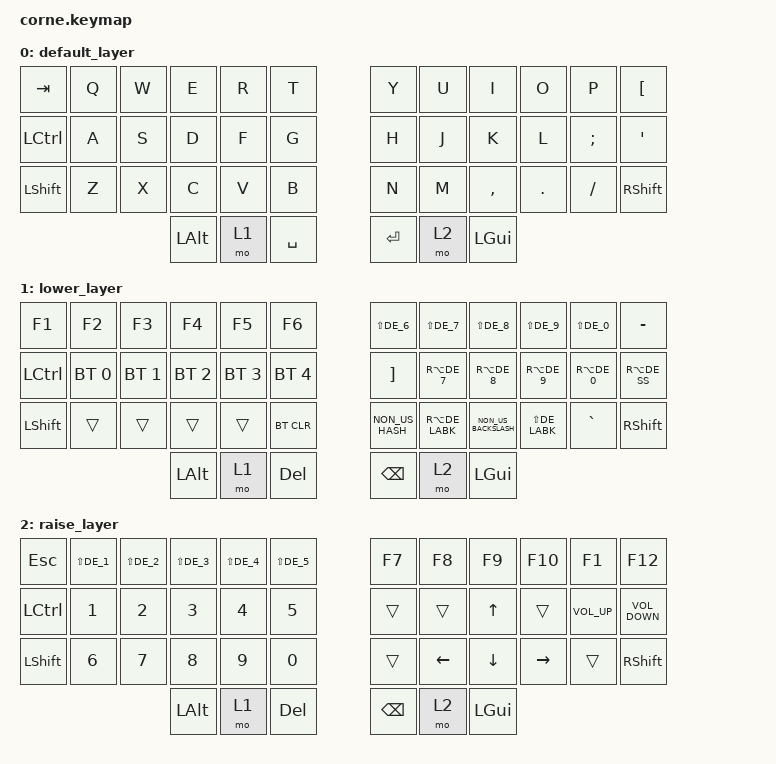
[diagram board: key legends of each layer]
/*
 * Copyright (c) 2020 The ZMK Contributors
 *
 * SPDX-License-Identifier: MIT
 */

#include <behaviors.dtsi>
#include <dt-bindings/zmk/keys.h>
#include <dt-bindings/zmk/modifiers.h>
#include <dt-bindings/zmk/bt.h>

// keymap german --------------------------------------------------------------------------

// clang-format off

/*
 * ┌───┬───┬───┬───┬───┬───┬───┬───┬───┬───┬───┬───┬───┬───────┐
 * │ ^ │ 1 │ 2 │ 3 │ 4 │ 5 │ 6 │ 7 │ 8 │ 9 │ 0 │ ß │ ´ │       │
 * ├───┴─┬─┴─┬─┴─┬─┴─┬─┴─┬─┴─┬─┴─┬─┴─┬─┴─┬─┴─┬─┴─┬─┴─┬─┴─┬─────┤
 * │     │ Q │ W │ E │ R │ T │ Z │ U │ I │ O │ P │ Ü │ + │     │
 * ├─────┴┬──┴┬──┴┬──┴┬──┴┬──┴┬──┴┬──┴┬──┴┬──┴┬──┴┬──┴┬──┴┐    │
 * │      │ A │ S │ D │ F │ G │ H │ J │ K │ L │ Ö │ Ä │ # │    │
 * ├────┬─┴─┬─┴─┬─┴─┬─┴─┬─┴─┬─┴─┬─┴─┬─┴─┬─┴─┬─┴─┬─┴─┬─┴───┴────┤
 * │    │ < │ Y │ X │ C │ V │ B │ N │ M │ , │ . │ - │          │
 * ├────┼───┴┬──┴─┬─┴───┴───┴───┴───┴───┴──┬┴───┼───┴┬────┬────┤
 * │    │    │    │                        │    │    │    │    │
 * └────┴────┴────┴────────────────────────┴────┴────┴────┴────┘
 */
// Row 1
#define DE_CIRC GRAVE // ^ (dead)
#define DE_1    N1    // 1
#define DE_2    N2    // 2
#define DE_3    N3    // 3
#define DE_4    N4    // 4
#define DE_5    N5    // 5
#define DE_6    N6    // 6
#define DE_7    N7    // 7
#define DE_8    N8    // 8
#define DE_9    N9    // 9
#define DE_0    N0    // 0
#define DE_SS   MINUS // ß
#define DE_ACUT EQUAL // ´ (dead)
// Row 2
#define DE_Q    Q             // Q
#define DE_W    W             // W
#define DE_E    E             // E
#define DE_R    R             // R
#define DE_T    T             // T
#define DE_Z    Y             // Z
#define DE_U    U             // U
#define DE_I    I             // I
#define DE_O    O             // O
#define DE_P    P             // P
#define DE_UDIA LEFT_BRACKET  // Ü
#define DE_PLUS RIGHT_BRACKET // +
// Row 3
#define DE_A    A            // A
#define DE_S    S            // S
#define DE_D    D            // D
#define DE_F    F            // F
#define DE_G    G            // G
#define DE_H    H            // H
#define DE_J    J            // J
#define DE_K    K            // K
#define DE_L    L            // L
#define DE_ODIA SEMICOLON    // Ö
#define DE_ADIA SINGLE_QUOTE // Ä
#define DE_HASH NON_US_HASH  // #
// Row 4
#define DE_LABK NON_US_BACKSLASH // <
#define DE_Y    Z                // Y
#define DE_X    X                // X
#define DE_C    C                // C
#define DE_V    V                // V
#define DE_B    B                // B
#define DE_N    N                // N
#define DE_M    M                // M
#define DE_COMM COMMA            // ,
#define DE_DOT  PERIOD           // .
#define DE_MINS SLASH            // -

/* Shifted symbols
 * ┌───┬───┬───┬───┬───┬───┬───┬───┬───┬───┬───┬───┬───┬───────┐
 * │ ° │ ! │ " │ § │ $ │ % │ & │ / │ ( │ ) │ = │ ? │ ` │       │
 * ├───┴─┬─┴─┬─┴─┬─┴─┬─┴─┬─┴─┬─┴─┬─┴─┬─┴─┬─┴─┬─┴─┬─┴─┬─┴─┬─────┤
 * │     │   │   │   │   │   │   │   │   │   │   │   │ * │     │
 * ├─────┴┬──┴┬──┴┬──┴┬──┴┬──┴┬──┴┬──┴┬──┴┬──┴┬──┴┬──┴┬──┴┐    │
 * │      │   │   │   │   │   │   │   │   │   │   │   │ ' │    │
 * ├────┬─┴─┬─┴─┬─┴─┬─┴─┬─┴─┬─┴─┬─┴─┬─┴─┬─┴─┬─┴─┬─┴─┬─┴───┴────┤
 * │    │ > │   │   │   │   │   │   │   │ ; │ : │ _ │          │
 * ├────┼───┴┬──┴─┬─┴───┴───┴───┴───┴───┴──┬┴───┼───┴┬────┬────┤
 * │    │    │    │                        │    │    │    │    │
 * └────┴────┴────┴────────────────────────┴────┴────┴────┴────┘
 */
// Row 1
#define DE_DEG  LS(DE_CIRC) // °
#define DE_EXLM LS(DE_1)    // !
#define DE_DQUO LS(DE_2)    // "
#define DE_SECT LS(DE_3)    // §
#define DE_DLR  LS(DE_4)    // $
#define DE_PERC LS(DE_5)    // %
#define DE_AMPR LS(DE_6)    // &
#define DE_SLSH LS(DE_7)    // /
#define DE_LPRN LS(DE_8)    // (
#define DE_RPRN LS(DE_9)    // )
#define DE_EQL  LS(DE_0)    // =
#define DE_QUES LS(DE_SS)   // ?
#define DE_GRV  LS(DE_ACUT) // ` (dead)
// Row 2
#define DE_ASTR LS(DE_PLUS) // *
// Row 3
#define DE_QUOT LS(DE_HASH) // '
// Row 4
#define DE_RABK LS(DE_LABK) // >
#define DE_SCLN LS(DE_COMM) // ;
#define DE_COLN LS(DE_DOT)  // :
#define DE_UNDS LS(DE_MINS) // _

/* AltGr symbols
 * ┌───┬───┬───┬───┬───┬───┬───┬───┬───┬───┬───┬───┬───┬───────┐
 * │   │   │ ² │ ³ │   │   │   │ { │ [ │ ] │ } │ \ │   │       │
 * ├───┴─┬─┴─┬─┴─┬─┴─┬─┴─┬─┴─┬─┴─┬─┴─┬─┴─┬─┴─┬─┴─┬─┴─┬─┴─┬─────┤
 * │     │ @ │   │ € │   │   │   │   │   │   │   │   │ ~ │     │
 * ├─────┴┬──┴┬──┴┬──┴┬──┴┬──┴┬──┴┬──┴┬──┴┬──┴┬──┴┬──┴┬──┴┐    │
 * │      │   │   │   │   │   │   │   │   │   │   │   │   │    │
 * ├────┬─┴─┬─┴─┬─┴─┬─┴─┬─┴─┬─┴─┬─┴─┬─┴─┬─┴─┬─┴─┬─┴─┬─┴───┴────┤
 * │    │ | │   │   │   │   │   │   │ µ │   │   │   │          │
 * ├────┼───┴┬──┴─┬─┴───┴───┴───┴───┴───┴──┬┴───┼───┴┬────┬────┤
 * │    │    │    │                        │    │    │    │    │
 * └────┴────┴────┴────────────────────────┴────┴────┴────┴────┘
 */
// Row 1
#define DE_SUP2 RA(DE_2)    // ²
#define DE_SUP3 RA(DE_3)    // ³
#define DE_LCBR RA(DE_7)    // {
#define DE_LBRC RA(DE_8)    // [
#define DE_RBRC RA(DE_9)    // ]
#define DE_RCBR RA(DE_0)    // }
#define DE_BSLS RA(DE_SS)   // (backslash)
// Row 2
#define DE_AT   RA(DE_Q)    // @
#define DE_EURO RA(DE_E)    // €
#define DE_TILD RA(DE_PLUS) // ~
// Row 4
#define DE_PIPE RA(DE_LABK) // |
#define DE_MICR RA(DE_M)    // µ

// keymap corne ---------------------------------------------------------------------------

/ {
        keymap {
                compatible = "zmk,keymap";

                default_layer {
// -----------------------------------------------------------------------------------------
// |  TAB |  Q  |  W  |  E  |  R  |  T  |          |  Z  |  U   |  I  |  O  |  P  |  Ü   |
// | CTRL |  A  |  S  |  D  |  F  |  G  |          |  H  |  J   |  K  |  L  |  Ö  |  Ä   |
// | SHFT |  Y  |  X  |  C  |  V  |  B  |          |  N  |  M   |  ,  |  .  |  -  | SHFT |
//                    | ALT | LWR | SPC |          | ENT | RSE  | WIN |
                        bindings = <
   &kp TAB   &kp Q    &kp W &kp E    &kp R &kp T       &kp DE_Z &kp U &kp I     &kp O      &kp P       &kp DE_UDIA
   &kp LCTRL &kp A    &kp S &kp D    &kp F &kp G       &kp H    &kp J &kp K     &kp L      &kp DE_ODIA &kp DE_ADIA
   &kp LSHFT &kp DE_Y &kp X &kp C    &kp V &kp B       &kp N    &kp M &kp COMMA &kp DE_DOT &kp DE_MINS &kp RSHFT
                            &kp LALT &mo 1 &kp SPACE   &kp RET  &mo 2 &kp LEFT_GUI
                        >;
                };
                lower_layer {
// -----------------------------------------------------------------------------------------
// |  F1  |  F2 |  F3 |  F4 |  F5 |   F6  |                                      |  &   |  /  |  (  |  )  |  =  |  ß   |
// | CTRL | BT1 | BT2 | BT3 | BT4 |  BT5  |                                      |  +   |  {  |  [  |  ]  |  }  |  \   |
// | SHFT |     |     |     |     | BTCLR |                                      |  #   |  |  |  <  |  >  |  ^  | SHFT |
//                    | ALT | LWR |  DEL  |                                      | BKSP | RSE | WIN |
                        bindings = <
   &kp F1    &kp F2       &kp F3       &kp F4       &kp F5       &kp F6           &kp DE_AMPR &kp DE_SLSH &kp DE_LPRN &kp DE_RPRN &kp DE_EQL  &kp DE_SS
   &kp LCTRL &bt BT_SEL 0 &bt BT_SEL 1 &bt BT_SEL 2 &bt BT_SEL 3 &bt BT_SEL 4     &kp DE_PLUS &kp DE_LCBR &kp DE_LBRC &kp DE_RBRC &kp DE_RCBR &kp DE_BSLS
   &kp LSHFT &trans       &trans       &trans       &trans       &bt BT_CLR       &kp DE_HASH &kp DE_PIPE &kp DE_LABK &kp DE_RABK &kp DE_CIRC &kp RSHFT
                                       &kp LALT     &mo 1        &kp DEL          &kp BSPC    &mo 2       &kp LEFT_GUI
                        >;
                };

                raise_layer {
// -----------------------------------------------------------------------------------------
// |  ESC |  !  |  @  |  #  |  $  |  %  |                                  |  F7  | F8  | F9  | F10 | F11  | F12  |
// | CTRL |  1  |  2  |  3  |  4  |  5  |                                  |      |     | UP  |     | Vol+ | Vol- |
// | SHFT |  6  |  7  |  8  |  9  |  0  |                                  |      | LFT | DWN | RGT |      | SHFT |
//                    | ALT | LWR | DEL |                                  | BKSP | RSE | WIN |
                        bindings = <
   &kp ESC   &kp DE_EXLM &kp DE_DQUO &kp DE_SECT &kp DE_DLR &kp DE_PERC    &kp F7   &kp F8   &kp F9   &kp F10   &kp F1          &kp F12
   &kp LCTRL &kp N1      &kp N2      &kp N3      &kp N4     &kp N5         &trans   &trans   &kp UP   &trans    &kp C_VOLUME_UP &kp C_VOLUME_DOWN
   &kp LSHFT &kp N6      &kp N7      &kp N8      &kp N9     &kp N0         &trans   &kp LEFT &kp DOWN &kp RIGHT &trans          &kp RSHFT
                                     &kp LALT    &mo 1      &kp DEL        &kp BSPC &mo 2    &kp LEFT_GUI
                        >;
                };
        };
};

// redefine CS Pin for corne-ultralight design, since it connects the CS Pin of the nice!view not to P06, but to P08
&nice_view_spi {
    cs-gpios = <&pro_micro 0 GPIO_ACTIVE_HIGH>;
};




// OLD ORIGINAL KEYMAP FOR REFERENCE ------------------------------------------------------
/*
/ {
        keymap {
                compatible = "zmk,keymap";

                default_layer {
// -----------------------------------------------------------------------------------------
// |  TAB |  Q  |  W  |  E  |  R  |  T  |   |  Y  |  U   |  I  |  O  |  P  | BKSP |
// | CTRL |  A  |  S  |  D  |  F  |  G  |   |  H  |  J   |  K  |  L  |  ;  |  '   |
// | SHFT |  Z  |  X  |  C  |  V  |  B  |   |  N  |  M   |  ,  |  .  |  /  | ESC  |
//                    | GUI | LWR | SPC |   | ENT | RSE  | ALT |
                        bindings = <
   &kp TAB   &kp Q &kp W &kp E &kp R &kp T   &kp Y &kp U  &kp I     &kp O   &kp P    &kp BSPC
   &kp LCTRL &kp A &kp S &kp D &kp F &kp G   &kp H &kp J  &kp K     &kp L   &kp SEMI &kp SQT
   &kp LSHFT &kp Z &kp X &kp C &kp V &kp B   &kp N &kp M  &kp COMMA &kp DOT &kp FSLH &kp ESC
                  &kp LGUI &mo 1 &kp SPACE   &kp RET &mo 2 &kp RALT
                        >;
                };
                lower_layer {
// -----------------------------------------------------------------------------------------
// |  TAB |  1  |  2  |  3  |  4  |  5  |   |  6  |  7  |  8  |  9  |  0  | BKSP |
// | BTCLR| BT1 | BT2 | BT3 | BT4 | BT5 |   | LFT | DWN |  UP | RGT |     |      |
// | SHFT |     |     |     |     |     |   |     |     |     |     |     |      |
//                    | GUI |     | SPC |   | ENT |     | ALT |
                        bindings = <
   &kp TAB    &kp N1       &kp N2       &kp N3       &kp N4       &kp N5         &kp N6   &kp N7   &kp N8 &kp N9    &kp N0 &kp BSPC
   &bt BT_CLR &bt BT_SEL 0 &bt BT_SEL 1 &bt BT_SEL 2 &bt BT_SEL 3 &bt BT_SEL 4   &kp LEFT &kp DOWN &kp UP &kp RIGHT &trans &trans
   &kp LSHFT  &trans       &trans       &trans       &trans       &trans         &trans   &trans   &trans &trans    &trans &trans
                                    &kp LGUI     &trans       &kp SPACE      &kp RET  &trans   &kp RALT
                        >;
                };

                raise_layer {
// -----------------------------------------------------------------------------------------
// |  TAB |  !  |  @  |  #  |  $  |  %  |   |  ^  |  &  |  *  |  (  |  )  | BKSP |
// | CTRL |     |     |     |     |     |   |  -  |  =  |  [  |  ]  |  \  |  `   |
// | SHFT |     |     |     |     |     |   |  _  |  +  |  {  |  }  | "|" |  ~   |
//                    | GUI |     | SPC |   | ENT |     | ALT |
                        bindings = <
   &kp  TAB  &kp EXCL &kp AT &kp HASH &kp DLLR &kp PRCNT   &kp CARET &kp AMPS  &kp KP_MULTIPLY &kp LPAR &kp RPAR &kp BSPC
   &kp LCTRL &trans   &trans &trans   &trans   &trans      &kp MINUS &kp EQUAL &kp LBKT        &kp RBKT &kp BSLH &kp GRAVE
   &kp LSHFT &trans   &trans &trans   &trans   &trans      &kp UNDER &kp PLUS  &kp LBRC        &kp RBRC &kp PIPE &kp TILDE
                             &kp LGUI &trans   &kp SPACE   &kp RET   &trans    &kp RALT
                        >;
                };
        };
};
*/
